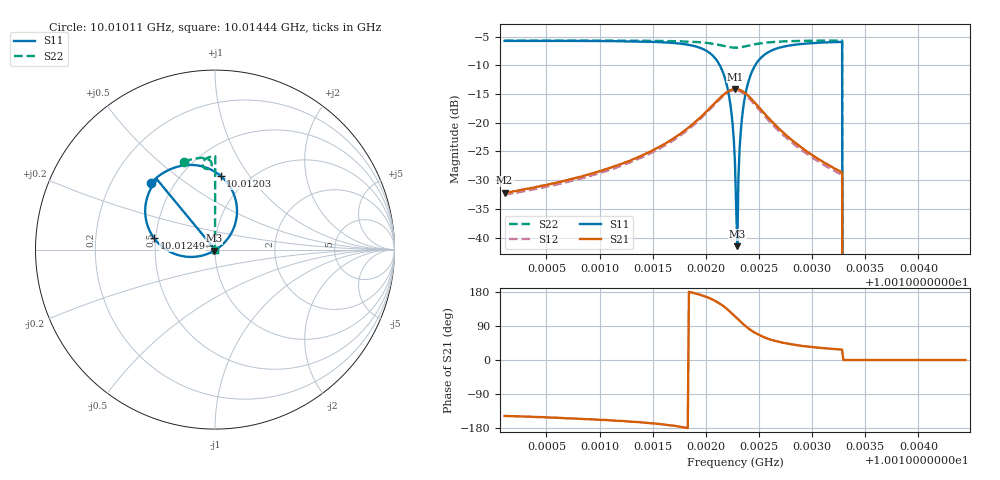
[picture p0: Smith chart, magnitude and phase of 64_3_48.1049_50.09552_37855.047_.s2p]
#  HZ  S  RI  R  50.00
! Rohde & Schwarz Vector Network Analyzer
! Rohde-Schwarz,ZNB20-2Port,1311601062101988,3.16
! Created: UTC 12/23/2023, 3:41:06 AM
! freq[Hz]  re:S11  im:S11  re:S21  im:S21  re:S12  im:S12  re:S22  im:S22
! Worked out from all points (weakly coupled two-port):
!   401 points, 10.01011 GHz to 10.01444 GHz, reference 50 ohm
!   highest |S21| = -14.11 dB at 10.01227 GHz (marker M1); lowest = -32.2 dB at 10.01011 GHz (marker M2)
!   lowest |S11| = -41.5 dB at 10.0123 GHz (marker M3), VSWR 1.02, Z = 49.5 - j0.664 ohm
!   |S11| at or under -10 dB: 10.01213 GHz to 10.01246 GHz (332.6 kHz wide, 0.00332 % of centre); 10.01328 GHz to end of sweep
!   |S22| runs from - to -5.7 dB; largest |S21 - S12| = 0.0091
!   S11 on the Smith chart (normalised r, x): 10.01011 GHz: 0.37, +0.37; 10.01203 GHz: 0.75, +0.74; 10.01249 GHz: 0.49, +0.07; 10.01444 GHz: 1.00, +0.00
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1.0010107e10  -0.3589 0.3718  -0.0208 -0.0131  -0.0191 -0.0136  -0.1748 0.4886
1.0010833e10  -0.3028 0.4178  -0.0309 -0.0142  -0.0292 -0.0151  -0.1274 0.5035
1.0011559e10  -0.1933 0.4657  -0.0601 -0.012  -0.0574 -0.0143  -0.0726 0.5112
1.0012025e10  0.0308 0.4114  -0.1258 0.0349  -0.124 0.0275  -0.025 0.4934
1.0012134e10  0.1101 0.294  -0.1399 0.0869  -0.1411 0.0778  -0.0183 0.4744
1.0012199e10  0.1193 0.1735  -0.13 0.1317  -0.1323 0.1241  -0.0228 0.4597
1.0012242e10  0.0865 0.0834  -0.1076 0.1616  -0.1117 0.1541  -0.0313 0.452
1.0012253e10  0.0724 0.0623  -0.1001 0.1681  -0.1044 0.1602  -0.034 0.4508
1.0012274e10  0.0374 0.0241  -0.0832 0.1785  -0.0872 0.1716  -0.0398 0.4491
1.0012296e10  -0.00509 -0.0067  -0.0642 0.1854  -0.0683 0.1788  -0.046 0.4489
1.0012307e10  -0.0282 -0.0185  -0.0549 0.1872  -0.0589 0.1809  -0.0489 0.4495
1.0012329e10  -0.0764 -0.0348  -0.0358 0.1885  -0.0396 0.182  -0.0546 0.4513
1.0012339e10  -0.1013 -0.039  -0.026 0.1877  -0.0304 0.1814  -0.0571 0.4529
1.0012361e10  -0.1492 -0.0406  -0.00797 0.1835  -0.0129 0.1776  -0.0615 0.4565
1.0012415e10  -0.2516 -0.012  0.0279 0.1635  0.0223 0.1581  -0.0679 0.4681
1.0012491e10  -0.3386 0.0626  0.0532 0.1285  0.0474 0.1244  -0.0678 0.4837
1.0012665e10  -0.389 0.2113  0.0605 0.071  0.0551 0.0699  -0.0529 0.5046
1.0013001e10  -0.3564 0.3419  0.0432 0.0295  0.04 0.0297  -0.0214 0.5179
1.0013261e10  -0.3252 0.3876  0.0335 0.0176  0.031 0.0184  -0.000231 0.5208
1.0013315e10  0 0  0 0  0 0  0 0
1.0013727e10  0 0  0 0  0 0  0 0
1.0014442e10  0 0  0 0  0 0  0 0
